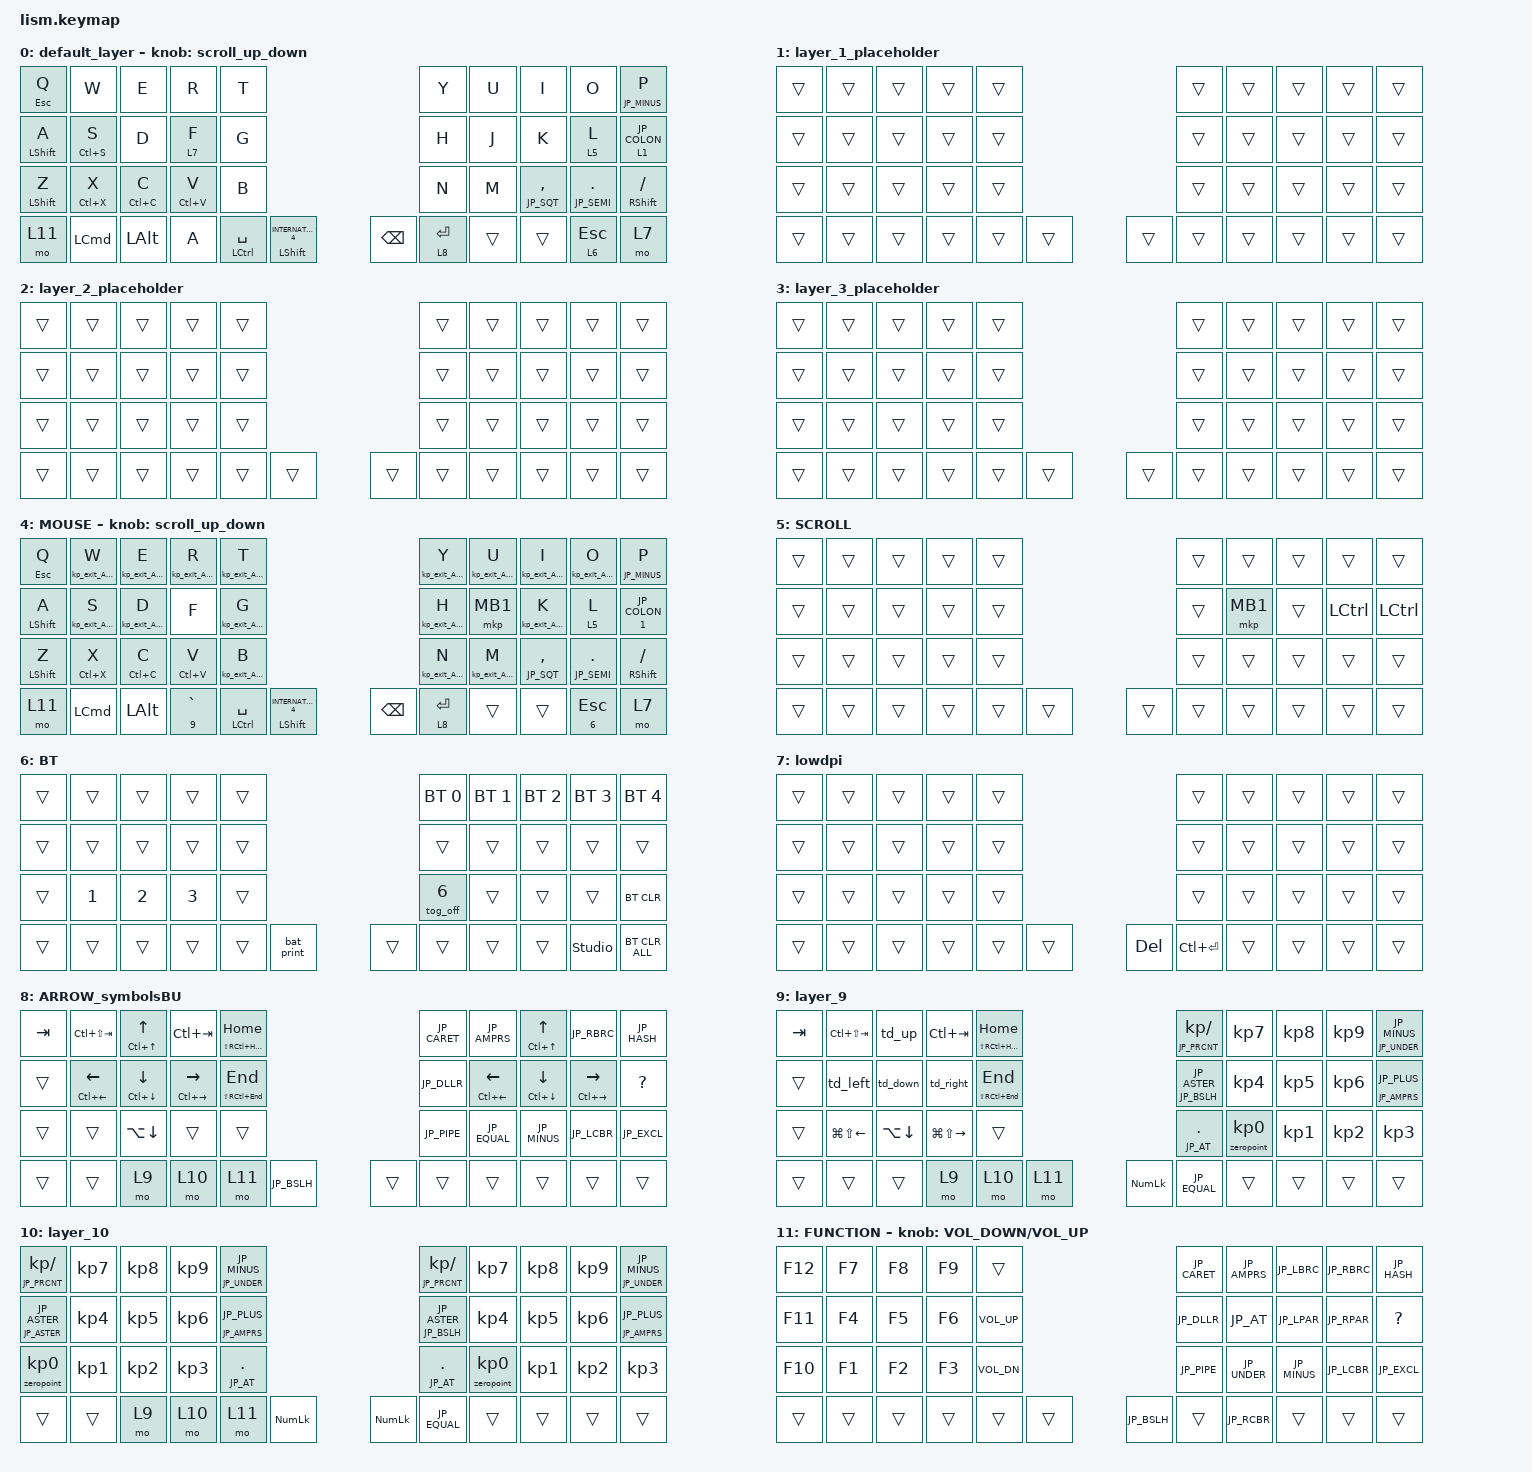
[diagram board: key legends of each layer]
#include <input/processors.dtsi>
#include <mouse-gesture.dtsi>
#include <behaviors/bat_print.dtsi>

#define JP_EXCL   (LS(NUMBER_1))
#define JP_DQT    (LS(NUMBER_2))
#define JP_HASH   (LS(NUMBER_3))
#define JP_DLLR   (LS(NUMBER_4))
#define JP_PRCNT  (LS(NUMBER_5))
#define JP_AMPRS  (LS(NUMBER_6))
#define JP_SQT    (LS(NUMBER_7))
#define JP_LPAR   (LS(NUMBER_8))
#define JP_RPAR   (LS(NUMBER_9))
#define JP_EQUAL  (LS(MINUS))
#define JP_MINUS  (MINUS)
#define JP_CARET  (EQUAL)
#define JP_TILDE  (LS(EQUAL))
#define JP_YEN    (INTERNATIONAL_3)
#define JP_PIPE   (LS(INTERNATIONAL_3))
#define JP_AT     (LEFT_BRACKET)
#define JP_GRAVE  (LS(LEFT_BRACKET))
#define JP_LBRC   (RIGHT_BRACKET)
#define JP_LCBR   (LS(RIGHT_BRACKET))
#define JP_RBRC   (NON_US_HASH)
#define JP_RCBR   (LS(NON_US_HASH))
#define JP_SEMI   (SEMICOLON)
#define JP_PLUS   (LS(SEMICOLON))
#define JP_COLON  (SQT)
#define JP_ASTER  (LS(SQT))
#define JP_BSLH   (INTERNATIONAL_1)
#define JP_UNDER  (LS(INTERNATIONAL_1))

#include <dt-bindings/zmk/mouse.h>
#include <behaviors.dtsi>
#include <dt-bindings/zmk/bt.h>
#include <dt-bindings/zmk/keys.h>
#include <dt-bindings/zmk/pointing.h>
#include "gesture/gesture_L2.dtsi"
#include "gesture/gesture_L3.dtsi"
#include "gesture/gesture_L7.dtsi"

#define ZMK_POINTING
#define ZMK_POINTING_DEFAULT_MOVE_VAL 700
#define ZMK_POINTING_DEFAULT_SCRL_VAL 40
#define MOUSE 4
#define SCROLL 5
#define NUM 6

&mt {
    flavor = "balanced";
    quick-tap-ms = <0>;
    tapping-term-ms = <300>;
};

&mkp_input_listener { input-processors = <&zip_temp_layer 4 3000000>; };

&zip_temp_layer { require-prior-idle-ms = <200>; };

/ {
    combos {
        compatible = "zmk,combos";

        tab {
            bindings = <&kp TAB>;
            key-positions = <0 1>;
        };

        double_quotation {
            bindings = <&kp JP_DQT>;
            key-positions = <18 19>;
        };

        zero1 {
            bindings = <&kp KP_NUMBER_0>;
            key-positions = <26 27 28>;
            layers = <9 10>;
        };

        mb3 {
            bindings = <&mkp MB3>;
            key-positions = <16 17 18>;
            layers = <4>;
        };

        mb5 {
            bindings = <&mkp MB5>;
            key-positions = <6 7>;
            layers = <4>;
        };

        mb4 {
            bindings = <&mkp MB4>;
            key-positions = <26 27>;
            layers = <4>;
        };

        zero2 {
            bindings = <&kp KP_NUMBER_0>;
            key-positions = <16 17 18>;
            layers = <9 10>;
        };

        zero3 {
            bindings = <&kp KP_NUMBER_0>;
            key-positions = <6 7 8>;
            layers = <9 10>;
        };

        ctrlAltTAB {
            bindings = <&kp LA(LC(TAB))>;
            key-positions = <18 17 16 19>;
        };

        max {
            bindings = <&kp LG(UP_ARROW)>;
            key-positions = <6 7 8>;
        };

        minimum {
            bindings = <&kp LG(DOWN)>;
            key-positions = <26 27 28>;
        };

        volmute {
            bindings = <&kp C_MUTE>;
            key-positions = <24 14>;
            layers = <1>;
        };

        colon {
            bindings = <&kp JP_COLON>;
            key-positions = <27 26>;
        };

        exclmtn {
            bindings = <&kp JP_EXCL>;
            key-positions = <28 27>;
        };

        mb2 {
            bindings = <&mkp MB2>;
            key-positions = <16 17>;
            layers = <4>;
        };

        kakko {
            bindings = <&parenthesisdoulequote 0 0>;
            key-positions = <18 17>;
        };

        closewin {
            bindings = <&kp LA(F4)>;
            key-positions = <28 27 26 37>;
        };

        reload {
            bindings = <&kp F5>;
            key-positions = <37 6 7 8>;
        };

        reload2 {
            bindings = <&kp F5>;
            key-positions = <37 16 17 18>;
        };
    };

    macros {
        mkp_exit_AML: mkp_exit_AML {
            compatible = "zmk,behavior-macro-one-param";
            #binding-cells = <1>;
            bindings =
                <&macro_press>,
                <&macro_param_1to1 &mkp MACRO_PLACEHOLDER>,
                <&macro_pause_for_release>,
                <&macro_release>,
                <&macro_param_1to1 &mkp MACRO_PLACEHOLDER>,
                <&macro_tap>,
                <&sl 4>;

            label = "MKP_EXIT_AML";
        };

        exit_AML: exit_AML {
            compatible = "zmk,behavior-macro";
            wait-ms = <0>;
            tap-ms = <0>;
            #binding-cells = <0>;
            bindings = <&tog_off 4>;
            label = "exit_AML";
        };

        kp_exit_AML: kp_exit_AML {
            compatible = "zmk,behavior-macro-one-param";
            wait-ms = <0>;
            tap-ms = <0>;
            #binding-cells = <1>;
            bindings = <&macro_param_1to1 &kp MACRO_PLACEHOLDER &exit_AML>;
            label = "KP_exit_AML";
        };

        mo_exit_AML: mo_exit_AML {
            compatible = "zmk,behavior-macro-one-param";
            #binding-cells = <1>;
            bindings =
                <&macro_press>,
                <&macro_param_1to1 &mo MACRO_PLACEHOLDER>,
                <&macro_pause_for_release>,
                <&macro_release>,
                <&macro_param_1to1 &mo MACRO_PLACEHOLDER>,
                <&macro_tap>,
                <&exit_AML>;

            label = "MO_exit_AML";
        };

        parenthesisJP: parenthesisJP {
            compatible = "zmk,behavior-macro";
            #binding-cells = <0>;
            bindings = <&kp JP_LPAR &kp JP_RPAR &kp LEFT_ARROW>;
            label = "PARENTHESISJP";
        };

        doubledoublequote: doubledoublecomma {
            compatible = "zmk,behavior-macro";
            #binding-cells = <0>;
            bindings = <&kp JP_DQT &kp JP_DQT &kp LEFT_ARROW>;
            label = "DOUBLEDOUBLECOMMA";
        };

        zeropoint: repoint {
            compatible = "zmk,behavior-macro";
            #binding-cells = <0>;
            bindings = <&kp N0 &kp PERIOD>;
            label = "REPOINT";
        };
    };

    alt_tab: alt_tab {
        compatible = "zmk,behavior-macro";
        #binding-cells = <0>;
        bindings = <&macro_press>, <&kp LALT>, <&macro_tap>, <&kp TAB>;
    };

    alt_shift_tab: alt_shift_tab {
        compatible = "zmk,behavior-macro";
        #binding-cells = <0>;
        bindings = <&macro_press>, <&kp LALT>, <&macro_tap>, <&kp LS(TAB)>;
    };

    release_alt: release_alt {
        compatible = "zmk,behavior-macro";
        #binding-cells = <0>;
        bindings = <&macro_release>, <&kp LALT>;
    };

    l3_exit: l3_exit {
        compatible = "zmk,behavior-macro";
        #binding-cells = <0>;
        bindings = <&release_alt>;
    };

    behaviors {
        scroll_up_down: behavior_sensor_rotate_mouse_wheel_up_down {
            compatible = "zmk,behavior-sensor-rotate";
            #sensor-binding-cells = <0>;
            bindings = <&msc SCRL_DOWN>, <&msc SCRL_UP>;

            tap-ms = <20>;
        };

        rot_tab_macro: rot_tab_macro {
            compatible = "zmk,behavior-sensor-rotate";
            #sensor-binding-cells = <0>;
            bindings = <&alt_tab>, <&alt_shift_tab>;
        };

        tog_off: toggle_layer_off {
            compatible = "zmk,behavior-toggle-layer";
            #binding-cells = <1>;
            display-name = "Toggle Layer Off";
            toggle-mode = "off";
        };

        mt_exit_AML_on_tap: mt_exit_AML_on_tap {
            compatible = "zmk,behavior-hold-tap";
            label = "MT_exit_AML_ON_TAP";
            bindings = <&kp>, <&kp_exit_AML>;

            #binding-cells = <2>;
            tapping-term-ms = <200>;
            flavor = "balanced";
            quick-tap-ms = <0>;
        };

        lt_exit_AML: lt_exit_AML {
            compatible = "zmk,behavior-hold-tap";
            label = "LT_exit_AML";
            bindings = <&mo_exit_AML>, <&kp_exit_AML>;

            #binding-cells = <2>;
            tapping-term-ms = <200>;
            quick-tap-ms = <200>;
            flavor = "balanced";
        };

        lt_exit_AML_on_hold: lt_exit_AML_on_hold {
            compatible = "zmk,behavior-hold-tap";
            label = "LT_exit_AML_ON_HOLD";
            bindings = <&mo_exit_AML>, <&kp>;

            #binding-cells = <2>;
            tapping-term-ms = <200>;
            quick-tap-ms = <200>;
            flavor = "balanced";
        };

        jk_click: jk_click {
            compatible = "zmk,behavior-hold-tap";
            label = "JK_CLICK";
            #binding-cells = <2>;
            tapping-term-ms = <150>;
            quick-tap-ms = <150>;
            flavor = "hold-preferred";
            bindings = <&mkp>, <&kp_exit_AML>;
        };

        lt_exit_l4: lt_exit_l4 {
            compatible = "zmk,behavior-hold-tap";
            label = "LT_EXIT_L4";
            #binding-cells = <2>;
            tapping-term-ms = <100>;
            flavor = "hold-preferred";
            bindings = <&mo>, <&tog_off>;
        };

        hold_pref_shift: hold_pref_shift {
            compatible = "zmk,behavior-hold-tap";
            label = "HOLD_PREF_SHIFT";
            #binding-cells = <2>;
            tapping-term-ms = <300>;
            flavor = "tap-preferred";
            quick-tap-ms = <200>;
            bindings = <&kp>, <&kp>;
        };

        mtzeropoint: mtzeropoint {
            compatible = "zmk,behavior-hold-tap";
            label = "MTZEROPOINT";
            #binding-cells = <2>;
            tapping-term-ms = <400>;
            flavor = "balanced";
            quick-tap-ms = <200>;
            bindings = <&zeropoint>, <&kp>;
        };

        parenthesisdoulequote: parenthesisdoulequote {
            compatible = "zmk,behavior-hold-tap";
            label = "PARENTHESISDOULEQUOTE";
            #binding-cells = <2>;
            tapping-term-ms = <400>;
            flavor = "balanced";
            quick-tap-ms = <200>;
            bindings = <&doubledoublequote>, <&parenthesisJP>;
        };

        ht_arrow_1: ht_arrow_1 {
            compatible = "zmk,behavior-hold-tap";
            label = "HT_ARROW_1";
            #binding-cells = <2>;
            flavor = "tap-preferred";
            tapping-term-ms = <200>;
            quick-tap-ms = <150>;
            bindings = <&kp>, <&kp>;
        };

        ht_arrow_2: ht_arrow_2 {
            compatible = "zmk,behavior-hold-tap";
            label = "HT_ARROW_2";
            #binding-cells = <2>;
            flavor = "tap-preferred";
            tapping-term-ms = <200>;
            quick-tap-ms = <150>;
            bindings = <&kp>, <&kp>;
        };

        td_up: td_up {
            compatible = "zmk,behavior-tap-dance";
            label = "TD_UP";
            #binding-cells = <0>;
            tapping-term-ms = <150>;
            bindings =
                <&ht_arrow_1 LC(UP_ARROW) UP_ARROW>,
                <&ht_arrow_2 LC(LS(UP_ARROW)) UP_ARROW>;
        };

        td_down: td_down {
            compatible = "zmk,behavior-tap-dance";
            label = "TD_DOWN";
            #binding-cells = <0>;
            tapping-term-ms = <150>;
            bindings =
                <&ht_arrow_1 LC(DOWN_ARROW) DOWN_ARROW>,
                <&ht_arrow_2 LC(LS(DOWN_ARROW)) DOWN_ARROW>;
        };

        td_left: td_left {
            compatible = "zmk,behavior-tap-dance";
            label = "TD_LEFT";
            #binding-cells = <0>;
            tapping-term-ms = <150>;
            bindings =
                <&ht_arrow_1 LC(LEFT_ARROW) LEFT_ARROW>,
                <&ht_arrow_2 LC(LS(LEFT_ARROW)) LEFT_ARROW>;
        };

        td_right: td_right {
            compatible = "zmk,behavior-tap-dance";
            label = "TD_RIGHT";
            #binding-cells = <0>;
            tapping-term-ms = <150>;
            bindings =
                <&ht_arrow_1 LC(RIGHT_ARROW) RIGHT_ARROW>,
                <&ht_arrow_2 LC(LS(RIGHT_ARROW)) RIGHT_ARROW>;
        };

        ht_layer_none: ht_layer_none {
            compatible = "zmk,behavior-hold-tap";
            label = "HT_LAYER_NONE";
            #binding-cells = <2>;
            flavor = "hold-preferred";
            tapping-term-ms = <200>;
            bindings = <&mo>, <&none>;
        };

        ht_key_none: ht_key_none {
            compatible = "zmk,behavior-hold-tap";
            label = "HT_KEY_NONE";
            #binding-cells = <2>;
            flavor = "hold-preferred";
            tapping-term-ms = <200>;
            bindings = <&kp>, <&none>;
        };

        ht_tp_qmark: ht_tp_qmark {
            compatible = "zmk,behavior-hold-tap";
            label = "HT_TP_QMARK";
            #binding-cells = <2>;
            flavor = "tap-preferred";
            tapping-term-ms = <200>;
            bindings = <&kp>, <&kp>;
        };

        td_mo7: td_mo7 {
            compatible = "zmk,behavior-tap-dance";
            label = "TD_MO7";
            #binding-cells = <0>;
            tapping-term-ms = <150>;
            bindings = <&ht_layer_none 7 0>, <&ht_key_none RIGHT_CONTROL 0>;
        };

        td_qmark_l0: td_qmark_l0 {
            compatible = "zmk,behavior-tap-dance";
            label = "TD_QMARK_L0";
            #binding-cells = <0>;
            tapping-term-ms = <200>;
            bindings =
                <&ht_tp_qmark RIGHT_SHIFT SLASH>,
                <&ht_tp_qmark RIGHT_SHIFT JP_EXCL>;
        };

        td_qmark_l4: td_qmark_l4 {
            compatible = "zmk,behavior-tap-dance";
            label = "TD_QMARK_L4";
            #binding-cells = <0>;
            tapping-term-ms = <200>;
            bindings =
                <&mt_exit_AML_on_tap RIGHT_SHIFT SLASH>,
                <&mt_exit_AML_on_tap RIGHT_SHIFT JP_EXCL>;
        };
    };

    keymap {
        compatible = "zmk,keymap";

        default_layer {
            bindings = <
&mt ESCAPE Q                   &kp W                     &kp E         &kp R        &kp T                                                                    &kp Y        &kp U   &kp I             &kp O            &mt JP_MINUS P
&hold_pref_shift LEFT_SHIFT A  &hold_pref_shift LC(S) S  &kp D         &lt 7 F      &kp G                                                                    &kp H        &kp J   &kp K             &lt 5 L          &lt 1 JP_COLON
&hold_pref_shift LEFT_SHIFT Z  &mt LC(X) X               &mt LC(C) C   &mt LC(V) V  &kp B                                                                    &kp N        &kp M   &mt JP_SQT COMMA  &mt JP_SEMI DOT  &hold_pref_shift RIGHT_SHIFT SLASH
&mo 11                         &kp LEFT_COMMAND          &kp LEFT_ALT  &kp A        &mt LEFT_CONTROL SPACE  &mt LEFT_SHIFT INTERNATIONAL_4    &kp BACKSPACE  &lt 8 ENTER  &trans  &trans            &lt 6 ESCAPE     &mo 7
            >;

            sensor-bindings = <&scroll_up_down>;
        };

        layer_1_placeholder {
            bindings = <
&trans  &trans  &trans  &trans  &trans                    &trans  &trans  &trans  &trans  &trans
&trans  &trans  &trans  &trans  &trans                    &trans  &trans  &trans  &trans  &trans
&trans  &trans  &trans  &trans  &trans                    &trans  &trans  &trans  &trans  &trans
&trans  &trans  &trans  &trans  &trans  &trans    &trans  &trans  &trans  &trans  &trans  &trans
            >;
        };

        layer_2_placeholder {
            bindings = <
&trans  &trans  &trans  &trans  &trans                    &trans  &trans  &trans  &trans  &trans
&trans  &trans  &trans  &trans  &trans                    &trans  &trans  &trans  &trans  &trans
&trans  &trans  &trans  &trans  &trans                    &trans  &trans  &trans  &trans  &trans
&trans  &trans  &trans  &trans  &trans  &trans    &trans  &trans  &trans  &trans  &trans  &trans
            >;
        };

        layer_3_placeholder {
            bindings = <
&trans  &trans  &trans  &trans  &trans                    &trans  &trans  &trans  &trans  &trans
&trans  &trans  &trans  &trans  &trans                    &trans  &trans  &trans  &trans  &trans
&trans  &trans  &trans  &trans  &trans                    &trans  &trans  &trans  &trans  &trans
&trans  &trans  &trans  &trans  &trans  &trans    &trans  &trans  &trans  &trans  &trans  &trans
            >;
        };

        MOUSE {
            bindings = <
&mt_exit_AML_on_tap ESCAPE Q  &kp_exit_AML W               &kp_exit_AML E               &kp_exit_AML R               &kp_exit_AML T                                                                           &kp_exit_AML Y  &kp_exit_AML U  &kp_exit_AML I                    &kp_exit_AML O                   &mt_exit_AML_on_tap JP_MINUS P
&mt_exit_AML_on_tap LSHIFT A  &kp_exit_AML S               &kp_exit_AML D               &kp F                        &kp_exit_AML G                                                                           &kp_exit_AML H  &mkp MB1        &kp_exit_AML K                    &lt 5 L                          &lt_exit_AML 1 JP_COLON
&mt_exit_AML_on_tap LSHIFT Z  &mt_exit_AML_on_tap LC(X) X  &mt_exit_AML_on_tap LC(C) C  &mt_exit_AML_on_tap LC(V) V  &kp_exit_AML B                                                                           &kp_exit_AML N  &kp_exit_AML M  &mt_exit_AML_on_tap JP_SQT COMMA  &mt_exit_AML_on_tap JP_SEMI DOT  &mt_exit_AML_on_tap RIGHT_SHIFT SLASH
&mo 11                        &kp LEFT_COMMAND             &kp LEFT_ALT                 &lt_exit_AML 9 GRAVE         &mt_exit_AML_on_tap LEFT_CONTROL SPACE  &mt LEFT_SHIFT INTERNATIONAL_4    &kp BACKSPACE  &lt 8 ENTER     &trans          &trans                            &lt_exit_AML_on_hold 6 ESCAPE    &mo 7
            >;

            sensor-bindings = <&scroll_up_down>;
        };

        SCROLL {
            bindings = <
&trans  &trans  &trans  &trans  &trans                    &trans  &trans    &trans  &trans            &trans
&trans  &trans  &trans  &trans  &trans                    &trans  &mkp MB1  &trans  &kp LEFT_CONTROL  &kp LEFT_CONTROL
&trans  &trans  &trans  &trans  &trans                    &trans  &trans    &trans  &trans            &trans
&trans  &trans  &trans  &trans  &trans  &trans    &trans  &trans  &trans    &trans  &trans            &trans
            >;
        };

        BT {
            bindings = <
&trans  &trans        &trans        &trans        &trans                        &bt BT_SEL 0  &bt BT_SEL 1  &bt BT_SEL 2  &bt BT_SEL 3    &bt BT_SEL 4
&trans  &trans        &trans        &trans        &trans                        &trans        &trans        &trans        &trans          &trans
&trans  &kp NUMBER_1  &kp NUMBER_2  &kp NUMBER_3  &trans                        &tog_off 6    &trans        &trans        &trans          &bt BT_CLR
&trans  &trans        &trans        &trans        &trans  &bat_print    &trans  &trans        &trans        &trans        &studio_unlock  &bt BT_CLR_ALL
            >;
        };

        lowdpi {
            bindings = <
&trans  &trans  &trans  &trans  &trans                        &trans         &trans  &trans  &trans  &trans
&trans  &trans  &trans  &trans  &trans                        &trans         &trans  &trans  &trans  &trans
&trans  &trans  &trans  &trans  &trans                        &trans         &trans  &trans  &trans  &trans
&trans  &trans  &trans  &trans  &trans  &trans    &kp DELETE  &kp LC(ENTER)  &trans  &trans  &trans  &trans
            >;
        };

        ARROW_symbolsBU {
            bindings = <
&kp TAB  &kp LC(LS(TAB))                &mt LC(UP_ARROW) UP_ARROW      &kp LC(TAB)                      &mt LS(RC(HOME)) HOME                         &kp JP_CARET  &kp JP_AMPRS                   &mt LC(UP_ARROW) UP_ARROW      &kp JP_RBRC                      &kp JP_HASH
&trans   &mt LC(LEFT_ARROW) LEFT_ARROW  &mt LC(DOWN_ARROW) DOWN_ARROW  &mt LC(RIGHT_ARROW) RIGHT_ARROW  &mt LS(RC(END)) END                           &kp JP_DLLR   &mt LC(LEFT_ARROW) LEFT_ARROW  &mt LC(DOWN_ARROW) DOWN_ARROW  &mt LC(RIGHT_ARROW) RIGHT_ARROW  &kp QUESTION
&trans   &trans                         &kp LA(DOWN_ARROW)             &trans                           &trans                                        &kp JP_PIPE   &kp JP_EQUAL                   &kp JP_MINUS                   &kp JP_LCBR                      &kp JP_EXCL
&trans   &trans                         &mo 9                          &mo 10                           &mo 11                 &kp JP_BSLH    &trans  &trans        &trans                         &trans                         &trans                           &trans
            >;
        };

        layer_9 {
            bindings = <
&kp TAB  &kp LC(LS(TAB))   &td_up              &kp LC(TAB)        &mt LS(RC(HOME)) HOME                            &mt JP_PRCNT KP_SLASH  &kp KP_NUMBER_7       &kp KP_NUMBER_8  &kp KP_NUMBER_9  &mt JP_UNDER JP_MINUS
&trans   &td_left          &td_down            &td_right          &mt LS(RC(END)) END                              &mt JP_BSLH JP_ASTER   &kp KP_NUMBER_4       &kp KP_NUMBER_5  &kp KP_NUMBER_6  &mt JP_AMPRS JP_PLUS
&trans   &kp LG(LS(LEFT))  &kp LA(DOWN_ARROW)  &kp LG(LS(RIGHT))  &trans                                           &mt JP_AT PERIOD       &mtzeropoint 0 KP_N0  &kp KP_NUMBER_1  &kp KP_NUMBER_2  &kp KP_NUMBER_3
&trans   &trans            &trans              &mo 9              &mo 10                 &mo 11    &kp KP_NUMLOCK  &kp JP_EQUAL           &trans                &trans           &trans           &trans
            >;
        };

        layer_10 {
            bindings = <
&mt JP_PRCNT KP_SLASH       &kp KP_NUMBER_7  &kp KP_NUMBER_8  &kp KP_NUMBER_9  &mt JP_UNDER JP_MINUS                                 &mt JP_PRCNT KP_SLASH  &kp KP_N7                   &kp KP_N8        &kp KP_N9  &mt JP_UNDER JP_MINUS
&mt JP_ASTER JP_ASTER       &kp KP_NUMBER_4  &kp KP_NUMBER_5  &kp KP_NUMBER_6  &mt JP_AMPRS JP_PLUS                                  &mt JP_BSLH JP_ASTER   &kp KP_NUMBER_4             &kp KP_N5        &kp KP_N6  &mt JP_AMPRS JP_PLUS
&mtzeropoint 0 KP_NUMBER_0  &kp KP_NUMBER_1  &kp KP_NUMBER_2  &kp KP_NUMBER_3  &mt JP_AT PERIOD                                      &mt JP_AT PERIOD       &mtzeropoint 0 KP_NUMBER_0  &kp KP_NUMBER_1  &kp KP_N2  &kp KP_N3
&trans                      &trans           &mo 9            &mo 10           &mo 11                 &kp KP_NLCK    &kp KP_NUMLOCK  &kp JP_EQUAL           &trans                      &trans           &trans     &trans
            >;
        };

        FUNCTION {
            bindings = <
&kp F12  &kp F7  &kp F8  &kp F9  &trans                               &kp JP_CARET  &kp JP_AMPRS  &kp JP_LBRC   &kp JP_RBRC  &kp JP_HASH
&kp F11  &kp F4  &kp F5  &kp F6  &kp C_VOL_UP                         &kp JP_DLLR   &kp JP_AT     &kp JP_LPAR   &kp JP_RPAR  &kp QUESTION
&kp F10  &kp F1  &kp F2  &kp F3  &kp C_VOL_DN                         &kp JP_PIPE   &kp JP_UNDER  &kp JP_MINUS  &kp JP_LCBR  &kp JP_EXCL
&trans   &trans  &trans  &trans  &trans        &trans    &kp JP_BSLH  &trans        &kp JP_RCBR   &trans        &trans       &trans
            >;

            sensor-bindings = <&inc_dec_kp C_VOLUME_DOWN C_VOLUME_UP>;
        };
    };
};
